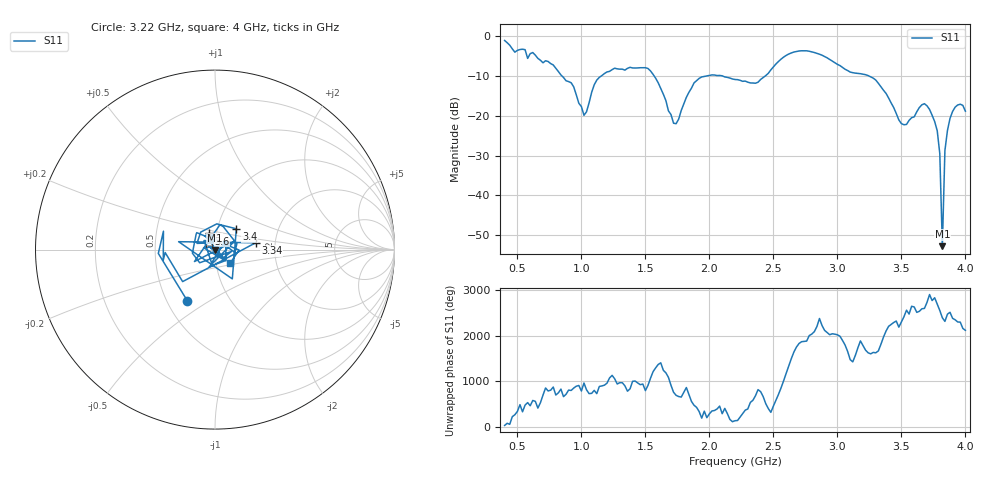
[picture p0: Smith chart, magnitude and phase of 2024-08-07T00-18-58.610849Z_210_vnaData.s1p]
!Created with skrf (http://scikit-rf.org).
# Hz S RI R 50.0
!freq ReS11 ImS11
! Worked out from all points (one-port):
!   181 points, 400 MHz to 4 GHz, reference 50 ohm
!   lowest |S11| = -52.7 dB at 3.82 GHz (marker M1), VSWR 1.00, Z = 49.9 - j0.185 ohm
!   |S11| at or under -10 dB: 1.567 GHz to 1.99 GHz (423.3 MHz wide, 23.8 % of centre); 2.091 GHz to 2.44 GHz (349.4 MHz wide, 15.4 % of centre); 3.241 GHz to end of sweep (the widest 3 of 4)
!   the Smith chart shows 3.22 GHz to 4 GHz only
!   S11 on the Smith chart (normalised r, x): 3.22 GHz: 0.63, -0.41; 3.34 GHz: 1.58, +0.13; 3.4 GHz: 1.23, +0.29; 3.6 GHz: 0.92, +0.17; 4 GHz: 1.17, -0.18
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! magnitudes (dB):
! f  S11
! 400 MHz  -1.2
! 860 MHz  -10.5
! 940 MHz  -12.8
! 1.02 GHz  -19.9
! 1.12 GHz  -11.1
! 1.3 GHz  -8.4
! 1.52 GHz  -8.2
! 1.72 GHz  -21.9
! 1.76 GHz  -20.9
! 1.92 GHz  -10.7
! 2.2 GHz  -11.0
! 2.38 GHz  -11.6
! 2.66 GHz  -4.1
! 3.1 GHz  -9.1
! 3.22 GHz  -9.8
! 3.34 GHz  -12.8
! 3.4 GHz  -15.6
! 3.5 GHz  -22.0
! 3.56 GHz  -21.2
! 3.6 GHz  -20.3
! 3.68 GHz  -17.0
! 3.78 GHz  -23.8
! 3.8 GHz  -29.5
! 3.82 GHz  -52.7
! 3.84 GHz  -28.7
! 3.86 GHz  -23.7
! 3.92 GHz  -17.9
! 4 GHz  -18.9
